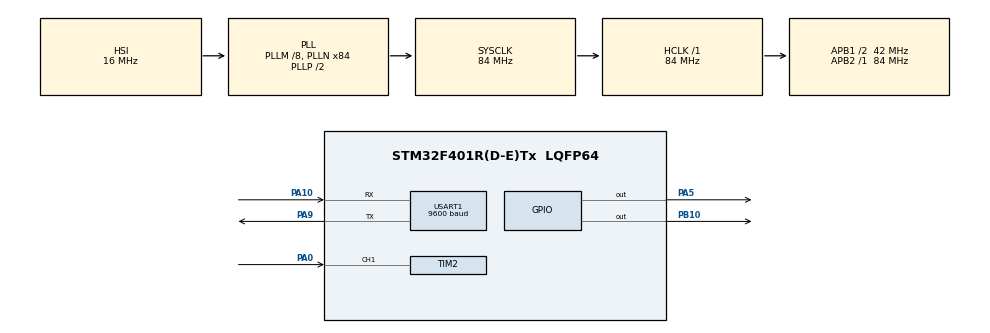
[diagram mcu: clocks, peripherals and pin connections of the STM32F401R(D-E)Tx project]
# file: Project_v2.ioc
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Mcu.Family=STM32F4
Mcu.Name=STM32F401R(D-E)Tx
Mcu.Package=LQFP64
NVIC.PriorityGroup=NVIC_PRIORITYGROUP_4
NVIC.RCC_IRQn=true\:0\:0\:false\:false\:true\:true\:false\:true
NVIC.TIM2_IRQn=true\:0\:0\:false\:false\:true\:true\:true\:true
NVIC.USART1_IRQn=true\:0\:0\:false\:false\:true\:true\:true\:true
PA0-WKUP.Signal=S_TIM2_CH1_ETR
PA10.Mode=Asynchronous
PA10.Signal=USART1_RX
PA13.Mode=Serial_Wire
PA13.Signal=SYS_JTMS-SWDIO
PA14.Mode=Serial_Wire
PA14.Signal=SYS_JTCK-SWCLK
PA5.Signal=GPIO_Output
PA9.Mode=Asynchronous
PA9.Signal=USART1_TX
PB10.Signal=GPIO_Output
PH0\ -\ OSC_IN.Mode=HSE-External-Oscillator
PH0\ -\ OSC_IN.Signal=RCC_OSC_IN
PH1\ -\ OSC_OUT.Mode=HSE-External-Oscillator
PH1\ -\ OSC_OUT.Signal=RCC_OSC_OUT
ProjectManager.HeapSize=0x200
ProjectManager.StackSize=0x400
ProjectManager.TargetToolchain=STM32CubeIDE
RCC.48MHZClocksFreq_Value=42000000
RCC.AHBFreq_Value=84000000
RCC.APB1CLKDivider=RCC_HCLK_DIV2
RCC.APB1Freq_Value=42000000
RCC.APB1TimFreq_Value=84000000
RCC.APB2Freq_Value=84000000
RCC.APB2TimFreq_Value=84000000
RCC.CortexFreq_Value=84000000
RCC.HCLKFreq_Value=84000000
RCC.HSE_VALUE=25000000
RCC.HSI_VALUE=16000000
RCC.LSE_VALUE=32768
RCC.PLLM=8
RCC.PLLN=84
RCC.SYSCLKFreq_VALUE=84000000
RCC.SYSCLKSource=RCC_SYSCLKSOURCE_PLLCLK
RCC.VCOOutputFreq_Value=168000000
SH.S_TIM2_CH1_ETR.0=TIM2_CH1,Input_Capture1_from_TI1
TIM2.Channel-Input_Capture1_from_TI1=TIM_CHANNEL_1
TIM2.Prescaler=84-1
USART1.BaudRate=9600
USART1.Mode=MODE_TX_RX
USART1.VirtualMode=VM_ASYNC
board=custom

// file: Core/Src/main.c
/* USER CODE BEGIN Header */
/**
  ******************************************************************************
  * @file           : main.c
  * @brief          : Main program body
  ******************************************************************************
  * @attention
  *
  * Copyright (c) 2023 STMicroelectronics.
  * All rights reserved.
  *
  * This software is licensed under terms that can be found in the LICENSE file
  * in the root directory of this software component.
  * If no LICENSE file comes with this software, it is provided AS-IS.
  *
  ******************************************************************************
  */
/* USER CODE END Header */
#include "main.h"

/* USER CODE BEGIN Includes */

#include "stm32f4xx.h"
#include "stdbool.h"
#include <stdio.h>
#include "string.h"
#include <assert.h>
#include <stdlib.h>

/* USER CODE END Includes */

TIM_HandleTypeDef htim2;

UART_HandleTypeDef huart1;

/* USER CODE BEGIN PV */

char msg[20] = {'\0'};
char msg2[20] = {'\0'};

uint32_t ciao = 0xc1a0;
uint32_t recvbuff;

uint32_t IC_Val1 = 0;
uint32_t IC_Val2 = 0;
uint32_t Difference = 0;
bool Is_First_Captured = false;
uint8_t Distance = 0;

/* USER CODE END PV */

void SystemClock_Config(void);
static void MX_GPIO_Init(void);
static void MX_USART1_UART_Init(void);
static void MX_TIM2_Init(void);

/* USER CODE BEGIN 0 */

void HCSR04_Read(TIM_HandleTypeDef *htim){

	HAL_GPIO_WritePin(GPIOB, GPIO_PIN_10, GPIO_PIN_SET); //alimento il segnale verso il trigger del sensore
	HAL_Delay(10);
	HAL_GPIO_WritePin(GPIOB, GPIO_PIN_10, GPIO_PIN_RESET);

	__HAL_TIM_ENABLE_IT(&htim2, TIM_IT_CC1);
}

void HAL_UART_RxCpltCallback(UART_HandleTypeDef *huart){

	if(Distance < 20)
		HAL_GPIO_WritePin(GPIOA, GPIO_PIN_5, GPIO_PIN_SET);
	else
		HAL_GPIO_WritePin(GPIOA, GPIO_PIN_5, GPIO_PIN_RESET);

	HAL_UART_Receive_IT(&huart1, (uint8_t*)msg2, sizeof(msg));
	HCSR04_Read(&htim2);
}

void HAL_TIM_IC_CaptureCallback(TIM_HandleTypeDef *htim){
	if(htim -> Channel == HAL_TIM_ACTIVE_CHANNEL_1){
		if(!Is_First_Captured){
			IC_Val1 = HAL_TIM_ReadCapturedValue(&htim2, TIM_CHANNEL_1);
			Is_First_Captured = true;
			__HAL_TIM_SET_CAPTUREPOLARITY(&htim2, TIM_CHANNEL_1, TIM_INPUTCHANNELPOLARITY_FALLING);
		}

		else if(Is_First_Captured){
			IC_Val2 = HAL_TIM_ReadCapturedValue(htim, TIM_CHANNEL_1);
			__HAL_TIM_SET_COUNTER(&htim2, 0);

			if(IC_Val2 > IC_Val1){
				Difference = IC_Val2 - IC_Val1;
			}
			else{
				Difference = (0xffff - IC_Val1) + IC_Val2;
			}

			Distance = Difference*.034/2;
			Is_First_Captured = false;

			sprintf(msg, "Distance: %dcm\r\n", Distance); // preparo il messaggio da inviare
			HAL_UART_Transmit_IT(&huart1, (uint8_t*)msg, sizeof(msg));

			__HAL_TIM_SET_CAPTUREPOLARITY(&htim2, TIM_CHANNEL_1, TIM_INPUTCHANNELPOLARITY_RISING);
			__HAL_TIM_DISABLE_IT(&htim2, TIM_IT_CC1);

		}
	}
}

/* USER CODE END 0 */

int main(void)
{

  /* MCU Configuration--------------------------------------------------------*/

  /* Reset of all peripherals, Initializes the Flash interface and the Systick. */
  HAL_Init();

  /* Configure the system clock */
  SystemClock_Config();

  /* Initialize all configured peripherals */
  MX_GPIO_Init();
  MX_USART1_UART_Init();
  MX_TIM2_Init();
  /* USER CODE BEGIN 2 */

  HAL_TIM_IC_Start_IT(&htim2, TIM_CHANNEL_1);

  HAL_UART_Receive_IT(&huart1, (uint8_t*)msg2, sizeof(msg2));

  HCSR04_Read(&htim2);

  /* USER CODE END 2 */

  /* Infinite loop */
  while (1)
  {

  }
}

void SystemClock_Config(void)
{
  RCC_OscInitTypeDef RCC_OscInitStruct = {0};
  RCC_ClkInitTypeDef RCC_ClkInitStruct = {0};

  /** Configure the main internal regulator output voltage
  */
  __HAL_RCC_PWR_CLK_ENABLE();
  __HAL_PWR_VOLTAGESCALING_CONFIG(PWR_REGULATOR_VOLTAGE_SCALE2);

  /** Initializes the RCC Oscillators according to the specified parameters
  * in the RCC_OscInitTypeDef structure.
  */
  RCC_OscInitStruct.OscillatorType = RCC_OSCILLATORTYPE_HSI;
  RCC_OscInitStruct.HSIState = RCC_HSI_ON;
  RCC_OscInitStruct.HSICalibrationValue = RCC_HSICALIBRATION_DEFAULT;
  RCC_OscInitStruct.PLL.PLLState = RCC_PLL_ON;
  RCC_OscInitStruct.PLL.PLLSource = RCC_PLLSOURCE_HSI;
  RCC_OscInitStruct.PLL.PLLM = 8;
  RCC_OscInitStruct.PLL.PLLN = 84;
  RCC_OscInitStruct.PLL.PLLP = RCC_PLLP_DIV2;
  RCC_OscInitStruct.PLL.PLLQ = 4;
  if (HAL_RCC_OscConfig(&RCC_OscInitStruct) != HAL_OK)
  {
    Error_Handler();
  }

  /** Initializes the CPU, AHB and APB buses clocks
  */
  RCC_ClkInitStruct.ClockType = RCC_CLOCKTYPE_HCLK|RCC_CLOCKTYPE_SYSCLK
                              |RCC_CLOCKTYPE_PCLK1|RCC_CLOCKTYPE_PCLK2;
  RCC_ClkInitStruct.SYSCLKSource = RCC_SYSCLKSOURCE_PLLCLK;
  RCC_ClkInitStruct.AHBCLKDivider = RCC_SYSCLK_DIV1;
  RCC_ClkInitStruct.APB1CLKDivider = RCC_HCLK_DIV2;
  RCC_ClkInitStruct.APB2CLKDivider = RCC_HCLK_DIV1;

  if (HAL_RCC_ClockConfig(&RCC_ClkInitStruct, FLASH_LATENCY_2) != HAL_OK)
  {
    Error_Handler();
  }
}

static void MX_TIM2_Init(void)
{

  TIM_MasterConfigTypeDef sMasterConfig = {0};
  TIM_IC_InitTypeDef sConfigIC = {0};

  htim2.Instance = TIM2;
  htim2.Init.Prescaler = 0;
  htim2.Init.CounterMode = TIM_COUNTERMODE_UP;
  htim2.Init.Period = 4294967295;
  htim2.Init.ClockDivision = TIM_CLOCKDIVISION_DIV1;
  htim2.Init.AutoReloadPreload = TIM_AUTORELOAD_PRELOAD_DISABLE;
  if (HAL_TIM_IC_Init(&htim2) != HAL_OK)
  {
    Error_Handler();
  }
  sMasterConfig.MasterOutputTrigger = TIM_TRGO_RESET;
  sMasterConfig.MasterSlaveMode = TIM_MASTERSLAVEMODE_DISABLE;
  if (HAL_TIMEx_MasterConfigSynchronization(&htim2, &sMasterConfig) != HAL_OK)
  {
    Error_Handler();
  }
  sConfigIC.ICPolarity = TIM_INPUTCHANNELPOLARITY_RISING;
  sConfigIC.ICSelection = TIM_ICSELECTION_DIRECTTI;
  sConfigIC.ICPrescaler = TIM_ICPSC_DIV1;
  sConfigIC.ICFilter = 0;
  if (HAL_TIM_IC_ConfigChannel(&htim2, &sConfigIC, TIM_CHANNEL_1) != HAL_OK)
  {
    Error_Handler();
  }

}

static void MX_USART1_UART_Init(void)
{

  huart1.Instance = USART1;
  huart1.Init.BaudRate = 9600;
  huart1.Init.WordLength = UART_WORDLENGTH_8B;
  huart1.Init.StopBits = UART_STOPBITS_1;
  huart1.Init.Parity = UART_PARITY_NONE;
  huart1.Init.Mode = UART_MODE_TX_RX;
  huart1.Init.HwFlowCtl = UART_HWCONTROL_NONE;
  huart1.Init.OverSampling = UART_OVERSAMPLING_16;
  if (HAL_UART_Init(&huart1) != HAL_OK)
  {
    Error_Handler();
  }

}

static void MX_GPIO_Init(void)
{
  GPIO_InitTypeDef GPIO_InitStruct = {0};

  /* GPIO Ports Clock Enable */
  __HAL_RCC_GPIOH_CLK_ENABLE();
  __HAL_RCC_GPIOA_CLK_ENABLE();
  __HAL_RCC_GPIOB_CLK_ENABLE();

  /*Configure GPIO pin Output Level */
  HAL_GPIO_WritePin(GPIOA, GPIO_PIN_5, GPIO_PIN_RESET);

  /*Configure GPIO pin Output Level */
  HAL_GPIO_WritePin(GPIOB, GPIO_PIN_10, GPIO_PIN_RESET);

  /*Configure GPIO pin : PA5 */
  GPIO_InitStruct.Pin = GPIO_PIN_5;
  GPIO_InitStruct.Mode = GPIO_MODE_OUTPUT_PP;
  GPIO_InitStruct.Pull = GPIO_NOPULL;
  GPIO_InitStruct.Speed = GPIO_SPEED_FREQ_LOW;
  HAL_GPIO_Init(GPIOA, &GPIO_InitStruct);

  /*Configure GPIO pin : PB10 */
  GPIO_InitStruct.Pin = GPIO_PIN_10;
  GPIO_InitStruct.Mode = GPIO_MODE_OUTPUT_PP;
  GPIO_InitStruct.Pull = GPIO_NOPULL;
  GPIO_InitStruct.Speed = GPIO_SPEED_FREQ_LOW;
  HAL_GPIO_Init(GPIOB, &GPIO_InitStruct);

}

void Error_Handler(void)
{
  __disable_irq();
  while (1)
  {
  }
}
